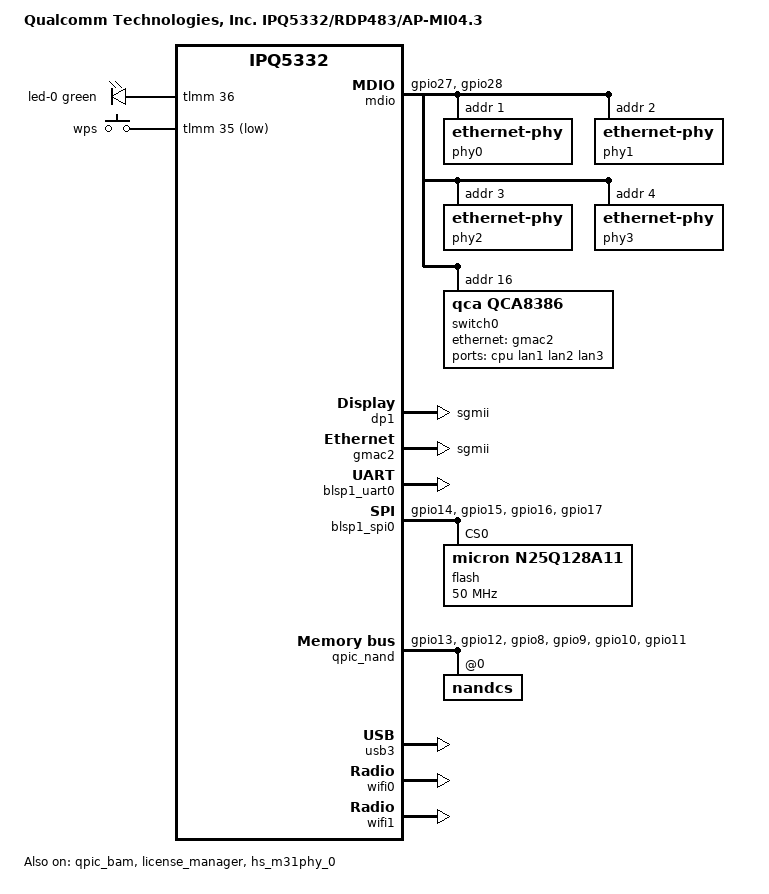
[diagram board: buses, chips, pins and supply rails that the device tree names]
// SPDX-License-Identifier: (GPL-2.0+ OR BSD-3-Clause)
/*
 * IPQ5332 RDP483 board device tree source
 *
 * Copyright (c) 2020-2021 The Linux Foundation. All rights reserved.
 * Copyright (c) 2022-2024 Qualcomm Innovation Center, Inc. All rights reserved.
 */

/dts-v1/;

#include "ipq5332.dtsi"
#include <dt-bindings/gpio/gpio.h>
#include <dt-bindings/input/input.h>
#include <dt-bindings/leds/common.h>
#include "ipq5332-default-memory.dtsi"

/ {
	model = "Qualcomm Technologies, Inc. IPQ5332/RDP483/AP-MI04.3";
	compatible = "qcom,ipq5332-ap-mi04.3","qcom,ipq5332-rdp483", "qcom,ipq5332";
#ifdef __IPQ_MEM_PROFILE_512_MB__
       /*     512M Memory Layout for IPQ5332 + QCN6432
	* +==========+==============+========================+
	* |         |              |                         |
	* |  Region | Start Offset |          Size           |
	* |         |              |                         |
	* +---------+--------------+-------------------------+
	* |   Q6    |              |                         |
	* |  code/  |  0x4A900000  |          20MB           |
	* |  data   |              |                         |
	* +---------+--------------+-------------------------+
	* | IPQ5332 |              |                         |
	* |  data   |  0x4BD00000  |          17MB           |
	* +---------+--------------+-------------------------+
	* | IPQ5332 |              |                         |
	* | M3 Dump |  0x4CE00000  |           1MB           |
	* +---------+--------------+-------------------------+
	* | IPQ5332 |              |                         |
	* |  QDSS   |  0x4CF00000  |           1MB           |
	* +---------+--------------+-------------------------+
	* |IPQ5332  |              |                         |
	* |  CALDB  |  0x4D000000  |           3MB           |
	* +---------+--------------+-------------------------+
	* |QCN6432_1|              |                         |
	* |  data   |  0x4D300000  |          16MB           |
	* +---------+--------------+-------------------------+
	* |QCN6432_1|              |                         |
	* | M3 Dump |  0x4E300000  |           1MB           |
	* +---------+--------------+-------------------------+
	* |QCN6432_1|              |                         |
	* |  QDSS   |  0x4E400000  |           1MB           |
	* +---------+--------------+-------------------------+
	* |QCN6432_1|              |                         |
	* |  CALDB  |  0x4E500000  |           5MB           |
	* +---------+--------------+-------------------------+
	* |QCN6432_1|              |                         |
	* |MEM_HOLE |  0x4EA00000  |           5MB           |
	* +---------+--------------+-------------------------+
	* |         |              |                         |
	* |   MLO   |  0x4EF00000  |          17MB           |
	* +==================================================+
	* |                                                  |
	* |                                                  |
	* |                                                  |
	* |             Rest of memory for Linux             |
	* |                                                  |
	* |                                                  |
	* |                                                  |
	* +==================================================+
	*/

	reserved-memory {

		/delete-node/ m3_dump@4cc00000;
		/delete-node/ q6_etr_dump@1;
		/delete-node/ mlo_global_mem_0@0x4db00000;
		/delete-node/ wcnss@4a900000;
		/delete-node/ q6_caldb_region@4ce00000;

		q6_mem_regions: q6_mem_regions@4A900000  {
			no-map;
			reg = <0x0 0x4A900000 0x0 0x4600000>;
		};

		q6_code_data: q6_code_data@4A900000 {
			no-map;
			reg = <0x0 0x4A900000 0x0 0x1400000>;
		};

		q6_ipq5332_data: q6_ipq5332_data@4BD00000 {
			no-map;
			reg = <0x0 0x4BD00000 0x0 0x1100000>;
		};

		m3_dump: m3_dump@4CE00000 {
			no-map;
			reg = <0x0 0x4CE00000 0x0 0x100000>;
		};

		q6_etr_region: q6_etr_dump@4CF00000 {
			no-map;
			reg = <0x0 0x4CF00000 0x0 0x100000>;
		};

		q6_ipq5332_caldb: q6_ipq5332_caldb@4D000000 {
			no-map;
			reg = <0x0 0x4D000000 0x0 0x300000>;
		};

		q6_qcn6432_data_1: q6_qcn6432_data_1@4D300000 {
			no-map;
			reg = <0x0 0x4D300000 0x0 0x1000000>;
		};

		m3_dump_qcn6432_1: m3_dump_qcn6432_1@4E300000 {
			no-map;
			reg = <0x0 0x4E300000 0x0 0x100000>;
                };

		q6_qcn6432_etr_1: q6_qcn6432_etr_1@4E400000 {
			no-map;
			reg = <0x0 0x4E400000 0x0 0x100000>;
		};

		q6_qcn6432_caldb_1: q6_qcn6432_caldb_1@4E500000 {
			no-map;
			reg = <0x0 0x4E500000 0x0 0x500000>;
		};

		mlo_global_mem0: mlo_global_mem_0@4EF00000 {
			no-map;
			reg = <0x0 0x4EF00000 0x0 0x1100000>;
		};
	};

#else
       /*   1G Memory Layout for IPQ5332 + QCN6432
	* +==========+==============+========================+
	* |         |              |                         |
	* |  Region | Start Offset |          Size           |
	* |         |              |                         |
	* +---------+--------------+-------------------------+
	* |   Q6    |              |                         |
	* |  code/  |  0x4A900000  |          20MB           |
	* |  data   |              |                         |
	* +---------+--------------+-------------------------+
	* | IPQ5332 |              |                         |
	* |  data   |  0x4BD00000  |          21MB           |
	* +---------+--------------+-------------------------+
	* | IPQ5332 |              |                         |
	* | M3 Dump |  0x4D200000  |           1MB           |
	* +---------+--------------+-------------------------+
	* | IPQ5332 |              |                         |
	* |  QDSS   |  0x4D300000  |           1MB           |
	* +---------+--------------+-------------------------+
	* |IPQ5332  |              |                         |
	* |  CALDB  |  0x4D400000  |           5MB           |
	* +---------+--------------+-------------------------+
	* |QCN6432_1|              |                         |
	* |  data   |  0x4D900000  |          21MB           |
	* +---------+--------------+-------------------------+
	* |QCN6432_1|              |                         |
	* | M3 Dump |  0x4EE00000  |           1MB           |
	* +---------+--------------+-------------------------+
	* |QCN6432_1|              |                         |
	* |  QDSS   |  0x4EF00000  |           1MB           |
	* +---------+--------------+-------------------------+
	* |QCN6432_1|              |                         |
	* |  CALDB  |  0x4F000000  |           5MB           |
	* +---------+--------------+-------------------------+
	* |QCN6432_1|              |                         |
	* |MEM_HOLE |  0x4F500000  |           5MB           |
	* +---------+--------------+-------------------------+
	* |         |              |                         |
	* |   MLO   |  0x4FA00000  |          17MB           |
	* +==================================================+
	* |                                                  |
	* |                                                  |
	* |                                                  |
	* |             Rest of memory for Linux             |
	* |                                                  |
	* |                                                  |
	* |                                                  |
	* +==================================================+
	*/
	reserved-memory {

		/delete-node/ m3_dump@4cc00000;
		/delete-node/ q6_etr_dump@1;
		/delete-node/ mlo_global_mem_0@0x4db00000;
		/delete-node/ wcnss@4a900000;
		/delete-node/ q6_caldb_region@4ce00000;

		q6_mem_regions: q6_mem_regions@4A900000  {
			no-map;
			reg = <0x0 0x4A900000 0x0 0x5100000>;
		};

		q6_code_data: q6_code_data@4A900000 {
			no-map;
			reg = <0x0 0x4A900000 0x0 0x1400000>;
		};

		q6_ipq5332_data: q6_ipq5332_data@4BD00000 {
			no-map;
			reg = <0x0 0x4BD00000 0x0 0x1500000>;
		};

		m3_dump: m3_dump@4D200000 {
			no-map;
			reg = <0x0 0x4D200000 0x0 0x100000>;
		};

		q6_etr_region: q6_etr_dump@4D300000 {
			no-map;
			reg = <0x0 0x4D300000 0x0 0x100000>;
		};

		q6_ipq5332_caldb: q6_ipq5332_caldb@4D400000 {
			no-map;
			reg = <0x0 0x4D400000 0x0 0x500000>;
		};

		q6_qcn6432_data_1: q6_qcn6432_data_1@4D900000 {
			no-map;
			reg = <0x0 0x4D900000 0x0 0x1500000>;
		};

		m3_dump_qcn6432_1: m3_dump_qcn6432_1@4EE00000 {
			no-map;
			reg = <0x0 0x4EE00000 0x0 0x100000>;
		};

		q6_qcn6432_etr_1: q6_qcn6432_etr_1@4EF00000 {
			no-map;
			reg = <0x0 0x4EF00000 0x0 0x100000>;
		};

		q6_qcn6432_caldb_1: q6_qcn6432_caldb_1@4F000000 {
			no-map;
			reg = <0x0 0x4F000000 0x0 0x500000>;
		};

		mlo_global_mem0: mlo_global_mem_0@4FA00000 {
			no-map;
			reg = <0x0 0x4FA00000 0x0 0x1100000>;
		};
	};
#endif

	aliases {
		serial0 = &blsp1_uart0;
		serial1 = &blsp1_uart1;
		ethernet0 = "/soc/dp1";
		ethernet1 = "/soc/dp2";
	};

	chosen {
		stdout-path = "serial0";
	};

	soc@0 {
		mdio:mdio@90000 {
			pinctrl-0 = <&mdio1_pins &mdio0_pins>;
			pinctrl-names = "default";
			/*gpio51 for manhattan reset*/
			phy-reset-gpio = <&tlmm 51 GPIO_ACTIVE_LOW>;
			phyaddr_fixup = <0xC90F018>;
			uniphyaddr_fixup = <0xC90F014>;
			mdio_clk_fixup; /* MDIO clock sequence fix up flag */
			status = "okay";

			phy0: ethernet-phy@0 {
				reg = <1>;
				fixup;
			};
			phy1: ethernet-phy@1 {
				reg = <2>;
				fixup;
			};
			phy2: ethernet-phy@2 {
				reg = <3>;
				fixup;
			};
			phy3: ethernet-phy@3 {
				reg = <4>;
				fixup;
			};

			switch0@10 {
				compatible = "qca,qca8386";
				#address-cells = <1>;
				#size-cells = <0>;
				reg = <0x10>;

				ports {
					#address-cells = <1>;
					#size-cells = <0>;

					port@0 {
						reg = <0>;
						label = "cpu";
						ethernet = <&gmac2>;
						dsa-tag-protocol = "qca_4b";
					};

					port@1 {
						reg = <1>;
						label = "lan1";
						phy-handle = <&phy0>;
						phy-mode = "usxgmii";
					};

					port@2 {
						reg = <2>;
						label = "lan2";
						phy-handle = <&phy1>;
						phy-mode = "usxgmii";
					};

					port@3 {
						reg = <3>;
						label = "lan3";
						phy-handle = <&phy2>;
						phy-mode = "usxgmii";
					};
				};
			};
		};

		leds {
			compatible = "gpio-leds";
			pinctrl-0 = <&gpio_leds_default>;
			pinctrl-names = "default";

			led-0 {
				color = <LED_COLOR_ID_GREEN>;
				function = LED_FUNCTION_WLAN;
				gpios = <&tlmm 36 GPIO_ACTIVE_HIGH>;
				linux,default-trigger = "phy0tx";
				default-state = "off";
			};
		};

		gpio_keys {
			compatible = "gpio-keys";
			pinctrl-0 = <&button_pins>;
			pinctrl-names = "default";
			status = "okay";

			button@1 {
				label = "wps";
				linux,code = <KEY_WPS_BUTTON>;
				gpios = <&tlmm 35 GPIO_ACTIVE_LOW>;
				linux,input-type = <1>;
				debounce-interval = <60>;
			};
		};

		ess-instance {
			num_devices = <0x2>;

			ess-switch@3a000000 {
				pinctrl-names = "default";
				switch_cpu_bmp = <0x1>;  /* cpu port bitmap */
				switch_lan_bmp = <0x2>; /* lan port bitmap */
				switch_wan_bmp = <0x4>; /* wan port bitmap */
				switch_mac_mode = <0xc>; /* mac mode for uniphy instance0*/
				switch_mac_mode1 = <0xf>; /* mac mode for uniphy instance1*/
				switch_mac_mode2 = <0xff>; /* mac mode for uniphy instance2*/

				qcom,port_phyinfo {
					port@0 {
						port_id = <1>;
						forced-speed = <2500>;
						forced-duplex = <1>;
					};
					port@1 {
						port_id = <2>;
						phy_address = <4>;
					};
				};

				led_source@5 {
					source = <5>;
					mode = "normal";
					speed = "all";
					blink_en = "enable";
					active = "high";
				};
			};

			ess-switch1@1 {
				compatible = "qcom,ess-switch-qca8386";
				device_id = <1>;
				switch_access_mode = "mdio";
				mdio-bus = <&mdio>;
				switch_mac_mode = <0xc>; /* mac mode for uniphy instance0 */
				switch_mac_mode1 = <0xff>; /* mac mode1 for uniphy instance1 */
				switch_cpu_bmp = <0x1>;  /* cpu port bitmap */
				switch_lan_bmp = <0xe>; /* lan port bitmap */
				switch_wan_bmp = <0x0>;  /* wan port bitmap */
				link-polling-required = <0>;
				fdb_sync = "interrupt";
				link-intr-gpio = <&tlmm 23 GPIO_ACTIVE_HIGH>;

				qcom,port_phyinfo {
					port@0 {
						port_id = <0>;
						forced-speed = <2500>;
						forced-duplex = <1>;
					};
					port@1 {
						port_id = <1>;
						phy_address = <1>;
					};
					port@2 {
						port_id = <2>;
						phy_address = <2>;
					};
					port@3 {
						port_id = <3>;
						phy_address = <3>;
					};
				};

				led_source@2 {
					source = <2>;
					mode = "normal";
					speed = "all";
					blink_en = "enable";
					active = "high";
				};
				led_source@5 {
					source = <5>;
					mode = "normal";
					speed = "all";
					blink_en = "enable";
					active = "high";
				};
				led_source@8 {
					source = <8>;
					mode = "normal";
					speed = "all";
					blink_en = "enable";
					active = "high";
				};
			};
		};

		nss-macsec0 {
			compatible = "qcom,nss-macsec";
			phy_addr = <12>;
			mdiobus = <&mdio>;
		};

		dp1 {
			device_type = "network";
			compatible = "qcom,nss-dp";
			qcom,id = <2>;
			reg = <0x3a504000 0x4000>;
			qcom,mactype = <1>;
			local-mac-address = [000000000000];
			mdio-bus = <&mdio>;
			qcom,phy-mdio-addr = <4>;
			qcom,link-poll = <1>;
			phy-mode = "sgmii";
		};

		gmac2:dp2 {
			device_type = "network";
			compatible = "qcom,nss-dp";
			qcom,id = <1>;
			reg = <0x3a500000 0x4000>;
			qcom,mactype = <1>;
			local-mac-address = [000000000000];
			phy-mode = "sgmii";
			qcom,ppe-offload-disabled = <1>;
			qcom,mht-dev = <1>;
		};

		/* EDMA host driver configuration for the board */
		edma@3ab00000 {
			qcom,txdesc-ring-start = <4>;		/* Tx desc ring start ID */
			qcom,txdesc-rings = <12>;		/* Total number of Tx desc rings to be provisioned */
			qcom,mht-txdesc-rings = <8>;            /* Extra Tx desc rings to be provisioned for MHT SW ports */
			qcom,txcmpl-ring-start = <4>;		/* Tx complete ring start ID */
			qcom,txcmpl-rings = <12>;		/* Total number of Tx complete rings to be provisioned */
			qcom,mht-txcmpl-rings = <8>;            /* Extra Tx complete rings to be provisioned for mht sw ports. */
			qcom,rxfill-ring-start = <4>;		/* Rx fill ring start ID */
			qcom,rxfill-rings = <4>;		/* Total number of Rx fill rings to be provisioned */
			qcom,rxdesc-ring-start = <12>;		/* Rx desc ring start ID */
			qcom,rxdesc-rings = <4>;		/* Total number of Rx desc rings to be provisioned */
			qcom,rx-page-mode = <0>;		/* Rx fill ring page mode */
			qcom,tx-map-priority-level = <1>;	/* Tx priority level per port */
			qcom,rx-map-priority-level = <1>;	/* Rx priority level per core */
			qcom,ppeds-num = <2>;			/* Number of PPEDS nodes */
			/* PPE-DS node format: <Rx-fill Tx-cmpl Rx Tx Queue-base Queue-count> */
			qcom,ppeds-map = <1 1 1 1 32 8>,	/* PPEDS Node#0 ring and queue map */
					<2 2 2 2 40 8>;		/* PPEDS Node#1 ring and queue map */
			qcom,txdesc-map = <8 9 10 11>,		/* Port0 per-core Tx ring map */
					<12 13 14 15>,        /* MHT-Port1 per-core Tx ring map */
					<4 5 6 7>,            /* MHT-Port2 per-core Tx ring map/packets from  vp*/
					<16 17 18 19>,        /* MHT-Port3 per-core Tx ring map */
					<20 21 22 23>;        /* MHT-Port4 per-core Tx ring map */
			qcom,txdesc-fc-grp-map = <1 2 3 4 5>;   /* Per GMAC flow control group map */
			qcom,rxfill-map = <4 5 6 7>;		/* Per-core Rx fill ring map */
			qcom,rxdesc-map = <12 13 14 15>;	/* Per-core Rx desc ring map */
			qcom,rx-queue-start = <0>;		/* Rx queue start */
			qcom,rx-ring-queue-map = <0 8 16 24>,	/* Priority 0 queues per-core Rx ring map */
						<1 9 17 25>,	/* Priority 1 queues per-core Rx ring map */
						<2 10 18 26>,	/* Priority 2 queues per-core Rx ring map */
						<3 11 19 27>,	/* Priority 3 queues per-core Rx ring map */
						<4 12 20 28>,	/* Priority 4 queues per-core Rx ring map */
						<5 13 21 29>,	/* Priority 5 queues per-core Rx ring map */
						<6 14 22 30>,	/* Priority 6 queues per-core Rx ring map */
						<7 15 23 31>;	/* Priority 7 queues per-core Rx ring map */
			interrupts = <0 163 4>,			/* Tx complete ring id #4 IRQ info */
				   <0 164 4>,			/* Tx complete ring id #5 IRQ info */
				   <0 165 4>,			/* Tx complete ring id #6 IRQ info */
				   <0 166 4>,			/* Tx complete ring id #7 IRQ info */
				   <0 167 4>,			/* Tx complete ring id #8 IRQ info */
				   <0 168 4>,			/* Tx complete ring id #9 IRQ info */
				   <0 169 4>,			/* Tx complete ring id #10 IRQ info */
				   <0 170 4>,			/* Tx complete ring id #11 IRQ info */
				   <0 171 4>,			/* Tx complete ring id #12 IRQ info */
				   <0 172 4>,			/* Tx complete ring id #13 IRQ info */
				   <0 173 4>,			/* Tx complete ring id #14 IRQ info */
				   <0 174 4>,			/* Tx complete ring id #15 IRQ info */
				   <0 139 4>,			/* Rx desc ring id #12 IRQ info */
				   <0 140 4>,			/* Rx desc ring id #13 IRQ info */
				   <0 141 4>,			/* Rx desc ring id #14 IRQ info */
				   <0 142 4>,			/* Rx desc ring id #15 IRQ info */
				   <0 191 4>,			/* Misc error IRQ info */
				<0 160 4>,			/* PPEDS Node #1(TxComp ring id #1) TxComplete IRQ info */
				<0 128 4>,			/* PPEDS Node #1(Rx Desc ring id #1) Rx Desc IRQ info */
				<0 152 4>,			/* PPEDS Node #1(RxFill Desc ring id #1) Rx Fill IRQ info */
				<0 161 4>,			/* PPEDS Node #2(TxComp ring id #2) TxComplete IRQ info */
				<0 129 4>,			/* PPEDS Node #2(Rx Desc ring id #2) Rx Desc IRQ info */
				<0 153 4>,                      /* PPEDS Node #2(RxFill Desc ring id #2) Rx Fill IRQ info */
				<0 175 4>,                   /* MHT port Tx complete ring id #16 IRQ info */
				<0 176 4>,                   /* MHT port Tx complete ring id #17 IRQ info */
				<0 177 4>,                   /* MHT port Tx complete ring id #18 IRQ info */
				<0 178 4>,                   /* MHT port Tx complete ring id #19 IRQ info */
				<0 179 4>,                   /* MHT port Tx complete ring id #20 IRQ info */
				<0 180 4>,                   /* MHT port Tx complete ring id #21 IRQ info */
				<0 181 4>,                   /* MHT port Tx complete ring id #22 IRQ info */
				<0 182 4>;                   /* MHT port Tx complete ring id #23 IRQ info */
		};

		wsi: wsi {
			id = <0>;
			num_chip = <2>;
			status = "okay";
			chip_info = <0 1 1>,
				    <1 1 0>;
		};

		q6v5_wcss: remoteproc@d100000 {
			boot-args = <0x1 0x4 0x3 0x1 0x2f 0x2>;
			memory-region = <&q6_mem_regions>;

			q6_wcss_pd1: remoteproc_pd1 {
				status = "ok";
			};

			q6_wcss_pd2: remoteproc_pd2 {
				compatible = "qcom,ipq5332-wcss-pcie-mpd";
				firmware = "IPQ5332/q6_fw2.mdt";
				m3_firmware = "qcn6432/iu_fw.mdt";
				interrupts-extended = <&wcss_smp2p_in 16 0>,
						<&wcss_smp2p_in 17 0>,
						<&wcss_smp2p_in 20 0>,
						<&wcss_smp2p_in 19 0>;
				interrupt-names = "fatal",
						"ready",
						"spawn-ack",
						"stop-ack";

				qcom,smem-states = <&wcss_smp2p_out 16>,
						<&wcss_smp2p_out 17>,
						<&wcss_smp2p_out 18>;
				qcom,smem-state-names = "shutdown",
							"stop",
							"spawn";
				status = "ok";
			};
		};
	};
};

&blsp1_uart0 {
	pinctrl-0 = <&serial_0_pins>;
	pinctrl-names = "default";
	status = "okay";
};

&blsp1_uart1 {
	pinctrl-0 = <&serial_1_pins>;
	pinctrl-names = "default";
	status = "disabled";
};

&blsp1_spi0 {
	pinctrl-0 = <&spi_0_data_clk_pins &spi_0_cs_pins>;
	pinctrl-names = "default";
	status = "okay";

	flash@0 {
		compatible = "micron,n25q128a11", "jedec,spi-nor";
		reg = <0>;
		#address-cells = <1>;
		#size-cells = <1>;
		spi-max-frequency = <50000000>;
	};
};

&sleep_clk {
	clock-frequency = <32000>;
};

&xo {
	clock-frequency = <24000000>;
};

&qpic_bam {
	status = "okay";
};

&qpic_nand {
	pinctrl-0 = <&qspi_default_state>;
	pinctrl-names = "default";
	status = "okay";

	nandcs@0 {
		reg = <0>;
		#address-cells = <1>;
		#size-cells = <1>;

		nand-ecc-strength = <8>;
		nand-ecc-step-size = <512>;
		nand-bus-width = <8>;
	};
};

&tlmm {
	qspi_default_state: qspi-default-state {
		qspi_clock {
			pins = "gpio13";
			function = "qspi_clk";
			drive-strength = <8>;
			bias-pull-down;
		};

		qspi_cs {
			pins = "gpio12";
			function = "qspi_cs";
			drive-strength = <8>;
			bias-pull-up;
		};

		qspi_data {
			pins = "gpio8", "gpio9", "gpio10", "gpio11";
			function = "qspi_data";
			drive-strength = <8>;
			bias-pull-down;
		};
	};

	serial_1_pins: serial1-pinmux {
		pins = "gpio33", "gpio34", "gpio35", "gpio36";
		function = "blsp1_uart2";
		drive-strength = <8>;
		bias-pull-up;
	};

	gpio_leds_default: gpio-leds-default-state {
		pins = "gpio36";
		function = "gpio";
		drive-strength = <8>;
		bias-pull-down;
	};

	button_pins: button-state {
		pins = "gpio35";
		function = "gpio";
		drive-strength = <8>;
		bias-pull-up;
	};

	spi_0_data_clk_pins: spi-0-data-clk-state {
		pins = "gpio14", "gpio15", "gpio16";
		function = "blsp0_spi";
		drive-strength = <2>;
		bias-pull-down;
	};

	spi_0_cs_pins: spi-0-cs-state {
		pins = "gpio17";
		function = "blsp0_spi";
		drive-strength = <2>;
		bias-pull-up;
	};

	mdio1_pins: mdio1-state {
		mux_0 {
			pins = "gpio27";
			function = "mdc1";
			drive-strength = <2>;
			bias-pull-up;
		};
		mux_1 {
			pins = "gpio28";
			function = "mdio1";
			drive-strength = <2>;
			bias-pull-up;
		};
	};
};

&license_manager {
	status = "okay";
};

&usb3 {
	qcom,select-utmi-as-pipe-clk;
	status = "okay";

	dwc3@8a00000 {
		/delete-property/ #phy-cells;
		/delete-property/ phys;
		/delete-property/ phy-names;
	};
};

&hs_m31phy_0 {
	status = "okay";
};
&wifi0 {
    qcom,multipd_arch;
    qcom,rproc = <&q6_wcss_pd1>;
    qcom,rproc_rpd = <&q6v5_wcss>;
    qcom,userpd-subsys-name = "q6v5_wcss_userpd1";
    qcom,bdf-addr = <0x4BD00000 0x4BD00000 0x0 0x0 0x0 0x0>;
    qcom,caldb-addr = <0x4D400000 0x4D000000 0x0 0x0 0x0 0x0>;
    qcom,caldb-size = <0x300000>;
    qcom,tgt-mem-mode = <1>;
    qcom,board_id = <0x43>;
    memory-region = <&q6_ipq5332_data>;
    qcom,wsi = <&wsi>;
    qcom,wsi_index  = <0>;
    status = "okay";
};

&wifi1 {
    qcom,multipd_arch;
    qcom,rproc = <&q6_wcss_pd2>;
    qcom,rproc_rpd = <&q6v5_wcss>;
    qcom,userpd-subsys-name = "q6v5_wcss_userpd2";
    qcom,bdf-addr = <0x4D900000 0x4D300000 0x0 0x0 0x0 0x0>;
    qcom,caldb-addr = <0x4F000000 0x4E500000 0x0 0x0 0x0 0x0>;
    qcom,caldb-size = <0x500000>;
    qcom,tgt-mem-mode = <1>;
    qcom,umac-irq-reset-addr = <0x18000884>;
    qcom,board_id = <0x54>;
    memory-region = <&q6_qcn6432_data_1>;
    qcom,wsi = <&wsi>;
    qcom,wsi_index = <1>;
    interrupts = <GIC_SPI 410 IRQ_TYPE_EDGE_RISING>;
    interrupt-names = "umac_reset";
    status = "okay";
};
